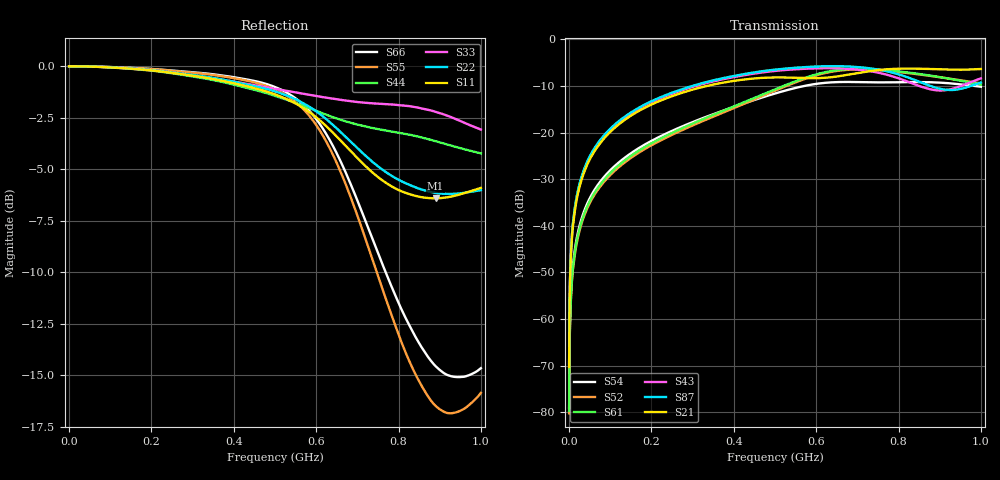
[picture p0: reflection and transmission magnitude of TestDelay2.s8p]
!Agilent Technologies,M9370A,MY54322275,A.02.50.04
!Agilent M9370A: A.02.50.04
!Date: Monday, April 02, 2018 17:15:15
!Correction: S11(Full 8 Port(1,2,3,4,5,6,7,8))
!S12(Full 8 Port(1,2,3,4,5,6,7,8))
!S13(Full 8 Port(1,2,3,4,5,6,7,8))
!S14(Full 8 Port(1,2,3,4,5,6,7,8))
!S15(Full 8 Port(1,2,3,4,5,6,7,8))
!S16(Full 8 Port(1,2,3,4,5,6,7,8))
!S17(Full 8 Port(1,2,3,4,5,6,7,8))
!S18(Full 8 Port(1,2,3,4,5,6,7,8))
!S21(Full 8 Port(1,2,3,4,5,6,7,8))
!S22(Full 8 Port(1,2,3,4,5,6,7,8))
!S23(Full 8 Port(1,2,3,4,5,6,7,8))
!S24(Full 8 Port(1,2,3,4,5,6,7,8))
!S25(Full 8 Port(1,2,3,4,5,6,7,8))
!S26(Full 8 Port(1,2,3,4,5,6,7,8))
!S27(Full 8 Port(1,2,3,4,5,6,7,8))
!S28(Full 8 Port(1,2,3,4,5,6,7,8))
!S31(Full 8 Port(1,2,3,4,5,6,7,8))
!S32(Full 8 Port(1,2,3,4,5,6,7,8))
!S33(Full 8 Port(1,2,3,4,5,6,7,8))
!S34(Full 8 Port(1,2,3,4,5,6,7,8))
!S35(Full 8 Port(1,2,3,4,5,6,7,8))
!S36(Full 8 Port(1,2,3,4,5,6,7,8))
!S37(Full 8 Port(1,2,3,4,5,6,7,8))
!S38(Full 8 Port(1,2,3,4,5,6,7,8))
!S41(Full 8 Port(1,2,3,4,5,6,7,8))
!S42(Full 8 Port(1,2,3,4,5,6,7,8))
!S43(Full 8 Port(1,2,3,4,5,6,7,8))
!S44(Full 8 Port(1,2,3,4,5,6,7,8))
!S45(Full 8 Port(1,2,3,4,5,6,7,8))
!S46(Full 8 Port(1,2,3,4,5,6,7,8))
!S47(Full 8 Port(1,2,3,4,5,6,7,8))
!S48(Full 8 Port(1,2,3,4,5,6,7,8))
!S51(Full 8 Port(1,2,3,4,5,6,7,8))
!S52(Full 8 Port(1,2,3,4,5,6,7,8))
!S53(Full 8 Port(1,2,3,4,5,6,7,8))
!S54(Full 8 Port(1,2,3,4,5,6,7,8))
!S55(Full 8 Port(1,2,3,4,5,6,7,8))
!S56(Full 8 Port(1,2,3,4,5,6,7,8))
!S57(Full 8 Port(1,2,3,4,5,6,7,8))
!S58(Full 8 Port(1,2,3,4,5,6,7,8))
!S61(Full 8 Port(1,2,3,4,5,6,7,8))
!S62(Full 8 Port(1,2,3,4,5,6,7,8))
!S63(Full 8 Port(1,2,3,4,5,6,7,8))
!S64(Full 8 Port(1,2,3,4,5,6,7,8))
!S65(Full 8 Port(1,2,3,4,5,6,7,8))
!S66(Full 8 Port(1,2,3,4,5,6,7,8))
!S67(Full 8 Port(1,2,3,4,5,6,7,8))
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# Hz S  RI  R 50
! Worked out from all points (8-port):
!   1000 points, 300 kHz to 1 GHz, reference 50 ohm
!   strongest paths, dB at 300 kHz, 250.5 MHz, 500.7 MHz, 750.8 MHz, 1 GHz:
!     S21: -70.3, -12.2, -8.1, -6.6, -6.3
!     S87: -69.5, -11.4, -6.5, -6.5, -9.2
!     S43: -69.7, -11.6, -6.7, -7.1, -8.3
!     S61: -79.7, -20.0, -10.7, -6.5, -9.7
!     S52: -80.2, -20.4, -11.0, -6.6, -9.4
!     S54: -79.1, -19.6, -11.6, -9.2, -10.1
!   lowest |S11| = -6.4 dB at 889.9 MHz (marker M1), VSWR 2.83, Z = 18.4 + j9.64 ohm
!   |S11| at or under -10 dB: nowhere
